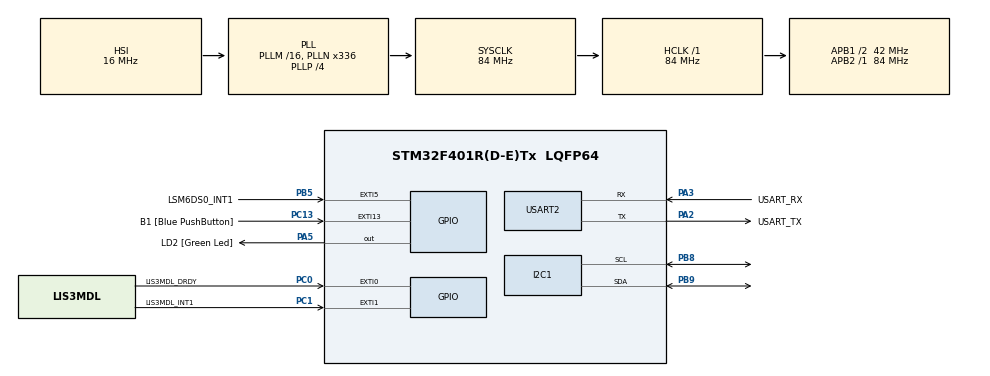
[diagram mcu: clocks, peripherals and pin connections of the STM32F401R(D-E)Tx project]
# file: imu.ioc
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FREERTOS.Tasks01=defaultTask,0,128,StartDefaultTask,Default
Mcu.Family=STM32F4
Mcu.Name=STM32F401R(D-E)Tx
Mcu.Package=LQFP64
NVIC.PriorityGroup=NVIC_PRIORITYGROUP_4
NVIC.TIM1_UP_TIM10_IRQn=true\:0\:0\:false\:false\:true\:false
NVIC.TimeBase=TIM1_UP_TIM10_IRQn
NVIC.TimeBaseIP=TIM1
PA2.GPIO_Label=USART_TX
PA2.GPIO_Mode=GPIO_MODE_AF_PP
PA2.GPIO_PuPd=GPIO_NOPULL
PA2.GPIO_Speed=GPIO_SPEED_FREQ_LOW
PA2.Mode=Asynchronous
PA2.Signal=USART2_TX
PA3.GPIO_Label=USART_RX
PA3.GPIO_Mode=GPIO_MODE_AF_PP
PA3.GPIO_PuPd=GPIO_NOPULL
PA3.GPIO_Speed=GPIO_SPEED_FREQ_LOW
PA3.Mode=Asynchronous
PA3.Signal=USART2_RX
PA5.GPIO_Label=LD2 [Green Led]
PA5.GPIO_Mode=GPIO_MODE_OUTPUT_PP
PA5.GPIO_PuPd=GPIO_NOPULL
PA5.GPIO_Speed=GPIO_SPEED_FREQ_LOW
PA5.Signal=GPIO_Output
PB5.GPIO_Label=LSM6DS0_INT1
PB5.Signal=GPXTI5
PB8.Mode=I2C
PB8.Signal=I2C1_SCL
PB9.Mode=I2C
PB9.Signal=I2C1_SDA
PC0.GPIO_Label=LIS3MDL_DRDY
PC0.Signal=GPXTI0
PC1.GPIO_Label=LIS3MDL_INT1
PC1.Signal=GPXTI1
PC13-ANTI_TAMP.GPIO_Label=B1 [Blue PushButton]
PC13-ANTI_TAMP.GPIO_ModeDefaultEXTI=GPIO_MODE_EVT_RISING
PC13-ANTI_TAMP.GPIO_PuPd=GPIO_NOPULL
PC13-ANTI_TAMP.Signal=GPXTI13
PC14-OSC32_IN.Signal=RCC_OSC32_IN
PC15-OSC32_OUT.Signal=RCC_OSC32_OUT
PH0\ -\ OSC_IN.Signal=RCC_OSC_IN
PH1\ -\ OSC_OUT.Signal=RCC_OSC_OUT
ProjectManager.HeapSize=0x200
ProjectManager.StackSize=0x400
ProjectManager.TargetToolchain=EWARM
RCC.AHBFreq_Value=84000000
RCC.APB1CLKDivider=RCC_HCLK_DIV2
RCC.APB1Freq_Value=42000000
RCC.APB1TimFreq_Value=84000000
RCC.APB2Freq_Value=84000000
RCC.APB2TimFreq_Value=84000000
RCC.CortexFreq_Value=84000000
RCC.HCLKFreq_Value=84000000
RCC.HSE_VALUE=8000000
RCC.HSI_VALUE=16000000
RCC.LSE_VALUE=32768
RCC.PLLN=336
RCC.PLLP=RCC_PLLP_DIV4
RCC.PLLQ=7
RCC.SYSCLKFreq_VALUE=84000000
RCC.SYSCLKSource=RCC_SYSCLKSOURCE_PLLCLK
RCC.VCOOutputFreq_Value=336000000
VP_FREERTOS_VS_ENABLE.Mode=Enabled
VP_SYS_VS_tim1.Mode=TIM1
board=NUCLEO-F401RE

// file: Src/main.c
/**
 ******************************************************************************
 * File Name          : main.c
 * Description        : Main program body
 ******************************************************************************
 *
 * COPYRIGHT(c) 2016 STMicroelectronics
 *
 * Redistribution and use in source and binary forms, with or without modification,
 * are permitted provided that the following conditions are met:
 *   1. Redistributions of source code must retain the above copyright notice,
 *      this list of conditions and the following disclaimer.
 *   2. Redistributions in binary form must reproduce the above copyright notice,
 *      this list of conditions and the following disclaimer in the documentation
 *      and/or other materials provided with the distribution.
 *   3. Neither the name of STMicroelectronics nor the names of its contributors
 *      may be used to endorse or promote products derived from this software
 *      without specific prior written permission.
 *
 * THIS SOFTWARE IS PROVIDED BY THE COPYRIGHT HOLDERS AND CONTRIBUTORS "AS IS"
 * AND ANY EXPRESS OR IMPLIED WARRANTIES, INCLUDING, BUT NOT LIMITED TO, THE
 * IMPLIED WARRANTIES OF MERCHANTABILITY AND FITNESS FOR A PARTICULAR PURPOSE ARE
 * DISCLAIMED. IN NO EVENT SHALL THE COPYRIGHT HOLDER OR CONTRIBUTORS BE LIABLE
 * FOR ANY DIRECT, INDIRECT, INCIDENTAL, SPECIAL, EXEMPLARY, OR CONSEQUENTIAL
 * DAMAGES (INCLUDING, BUT NOT LIMITED TO, PROCUREMENT OF SUBSTITUTE GOODS OR
 * SERVICES; LOSS OF USE, DATA, OR PROFITS; OR BUSINESS INTERRUPTION) HOWEVER
 * CAUSED AND ON ANY THEORY OF LIABILITY, WHETHER IN CONTRACT, STRICT LIABILITY,
 * OR TORT (INCLUDING NEGLIGENCE OR OTHERWISE) ARISING IN ANY WAY OUT OF THE USE
 * OF THIS SOFTWARE, EVEN IF ADVISED OF THE POSSIBILITY OF SUCH DAMAGE.
 *
 ******************************************************************************
 */
#include "stm32f4xx_hal.h"
#include "cmsis_os.h"
#include "i2c.h"
#include "usart.h"
#include "gpio.h"

/* USER CODE BEGIN PV */
/* Private variables ---------------------------------------------------------*/

/* USER CODE END PV */

void SystemClock_Config(void);
void Error_Handler(void);
void MX_FREERTOS_Init(void);

/* USER CODE BEGIN PFP */
/* Private function prototypes -----------------------------------------------*/

/* USER CODE END PFP */

int main(void)
{

    /* MCU Configuration----------------------------------------------------------*/

    /* Reset of all peripherals, Initializes the Flash interface and the Systick. */
    HAL_Init();

    /* Configure the system clock */
    SystemClock_Config();

    /* Initialize all configured peripherals */
    MX_GPIO_Init();
    MX_I2C1_Init();
    MX_USART2_UART_Init();

    /* USER CODE BEGIN 2 */
printf("PRINTF Test\r\n");
    /* USER CODE END 2 */

    /* Call init function for freertos objects (in freertos.c) */
    MX_FREERTOS_Init();

    /* Start scheduler */
    osKernelStart();

    /* We should never get here as control is now taken by the scheduler */

    /* Infinite loop */
    while (1) {

    }

}

/** System Clock Configuration
 */
void SystemClock_Config(void)
{

    RCC_OscInitTypeDef RCC_OscInitStruct;
    RCC_ClkInitTypeDef RCC_ClkInitStruct;

    __HAL_RCC_PWR_CLK_ENABLE()
    ;

    __HAL_PWR_VOLTAGESCALING_CONFIG(PWR_REGULATOR_VOLTAGE_SCALE2);

    RCC_OscInitStruct.OscillatorType = RCC_OSCILLATORTYPE_HSI;
    RCC_OscInitStruct.HSIState = RCC_HSI_ON;
    RCC_OscInitStruct.HSICalibrationValue = 16;
    RCC_OscInitStruct.PLL.PLLState = RCC_PLL_ON;
    RCC_OscInitStruct.PLL.PLLSource = RCC_PLLSOURCE_HSI;
    RCC_OscInitStruct.PLL.PLLM = 16;
    RCC_OscInitStruct.PLL.PLLN = 336;
    RCC_OscInitStruct.PLL.PLLP = RCC_PLLP_DIV4;
    RCC_OscInitStruct.PLL.PLLQ = 7;
    if (HAL_RCC_OscConfig(&RCC_OscInitStruct) != HAL_OK) {
        Error_Handler();
    }

    RCC_ClkInitStruct.ClockType = RCC_CLOCKTYPE_HCLK | RCC_CLOCKTYPE_SYSCLK
            | RCC_CLOCKTYPE_PCLK1 | RCC_CLOCKTYPE_PCLK2;
    RCC_ClkInitStruct.SYSCLKSource = RCC_SYSCLKSOURCE_PLLCLK;
    RCC_ClkInitStruct.AHBCLKDivider = RCC_SYSCLK_DIV1;
    RCC_ClkInitStruct.APB1CLKDivider = RCC_HCLK_DIV2;
    RCC_ClkInitStruct.APB2CLKDivider = RCC_HCLK_DIV1;
    if (HAL_RCC_ClockConfig(&RCC_ClkInitStruct, FLASH_LATENCY_2) != HAL_OK) {
        Error_Handler();
    }

    HAL_SYSTICK_Config(HAL_RCC_GetHCLKFreq() / 1000);

    HAL_SYSTICK_CLKSourceConfig(SYSTICK_CLKSOURCE_HCLK);

    /* SysTick_IRQn interrupt configuration */
    HAL_NVIC_SetPriority(SysTick_IRQn, 15, 0);
}

void Error_Handler(void)
{
    while (1) {
    }
}

/************************ (C) COPYRIGHT STMicroelectronics *****END OF FILE****/

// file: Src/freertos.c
/**
 ******************************************************************************
 * File Name          : freertos.c
 * Description        : Code for freertos applications
 ******************************************************************************
 *
 * COPYRIGHT(c) 2016 STMicroelectronics
 *
 * Redistribution and use in source and binary forms, with or without modification,
 * are permitted provided that the following conditions are met:
 *   1. Redistributions of source code must retain the above copyright notice,
 *      this list of conditions and the following disclaimer.
 *   2. Redistributions in binary form must reproduce the above copyright notice,
 *      this list of conditions and the following disclaimer in the documentation
 *      and/or other materials provided with the distribution.
 *   3. Neither the name of STMicroelectronics nor the names of its contributors
 *      may be used to endorse or promote products derived from this software
 *      without specific prior written permission.
 *
 * THIS SOFTWARE IS PROVIDED BY THE COPYRIGHT HOLDERS AND CONTRIBUTORS "AS IS"
 * AND ANY EXPRESS OR IMPLIED WARRANTIES, INCLUDING, BUT NOT LIMITED TO, THE
 * IMPLIED WARRANTIES OF MERCHANTABILITY AND FITNESS FOR A PARTICULAR PURPOSE ARE
 * DISCLAIMED. IN NO EVENT SHALL THE COPYRIGHT HOLDER OR CONTRIBUTORS BE LIABLE
 * FOR ANY DIRECT, INDIRECT, INCIDENTAL, SPECIAL, EXEMPLARY, OR CONSEQUENTIAL
 * DAMAGES (INCLUDING, BUT NOT LIMITED TO, PROCUREMENT OF SUBSTITUTE GOODS OR
 * SERVICES; LOSS OF USE, DATA, OR PROFITS; OR BUSINESS INTERRUPTION) HOWEVER
 * CAUSED AND ON ANY THEORY OF LIABILITY, WHETHER IN CONTRACT, STRICT LIABILITY,
 * OR TORT (INCLUDING NEGLIGENCE OR OTHERWISE) ARISING IN ANY WAY OUT OF THE USE
 * OF THIS SOFTWARE, EVEN IF ADVISED OF THE POSSIBILITY OF SUCH DAMAGE.
 *
 ******************************************************************************
 */

#include "FreeRTOS.h"
#include "task.h"
#include <queue.h>
#include <semphr.h>
#include <stdio.h>

#include "cmsis_os.h"

/* USER CODE BEGIN Includes */
#include "imu.h"
#include "display.h"
#include "fusion.h"
/* USER CODE END Includes */

/* USER CODE BEGIN Variables */
TaskHandle_t imuTaskHandle;
TaskHandle_t fusionTaskHandle;
TaskHandle_t displayTaskHandle;
SemaphoreHandle_t mutexI2C;
SemaphoreHandle_t irqAccGyro;
SemaphoreHandle_t irqCompass;
SemaphoreHandle_t drdyCompass;

static unsigned const QUEUE_DEPTH = 16;
QueueHandle_t qImuToFusion;
QueueHandle_t qFusionToDisplay;

/* USER CODE END Variables */

void MX_FREERTOS_Init(void); /* (MISRA C 2004 rule 8.1) */

/* Hook prototypes */

/* Init FreeRTOS */

void MX_FREERTOS_Init(void)
{

    /* USER CODE BEGIN RTOS_MUTEX */
    mutexI2C = xSemaphoreCreateMutex();

    /* USER CODE END RTOS_MUTEX */

    /* USER CODE BEGIN RTOS_SEMAPHORES */
    qImuToFusion = xQueueCreate(QUEUE_DEPTH, sizeof(IMUData_t));
    qFusionToDisplay = xQueueCreate(QUEUE_DEPTH, sizeof(FusedData_t));
    if ((NULL == qImuToFusion) || (NULL == qFusionToDisplay)) {
        printf("Failed to create queue\r\n");
        /* TODO: cleanup */
    }

    irqAccGyro = xSemaphoreCreateCounting(QUEUE_DEPTH, 0);
    irqCompass = xSemaphoreCreateCounting(QUEUE_DEPTH, 0);
    drdyCompass = xSemaphoreCreateCounting(QUEUE_DEPTH, 0);

    if (!(irqAccGyro && irqCompass && drdyCompass)) {
        printf("Failed to create a semaphore\r\n");
        /* TODO: Cleanup */
    }

    /* USER CODE END RTOS_SEMAPHORES */

    /* Create the thread(s) */

    /* USER CODE BEGIN RTOS_THREADS */
    BaseType_t ret;
    ret = xTaskCreate(&IMUTaskThread, "imuTask", 128, NULL,
            tskIDLE_PRIORITY + 3, &imuTaskHandle);
    ret &= xTaskCreate(&FusionTaskThread, "fusionTask", 128, NULL,
            tskIDLE_PRIORITY, &fusionTaskHandle);
    ret &= xTaskCreate(&DisplayTaskThread, "displayTask", 128, NULL,
            tskIDLE_PRIORITY + 2, &displayTaskHandle);

    if (pdPASS != ret) {
        /* TODO: cleanup */
        printf("Failed to create all threads\r\n");
    }

    /* USER CODE END RTOS_THREADS */

    vTaskStartScheduler();
}

/************************ (C) COPYRIGHT STMicroelectronics *****END OF FILE****/
